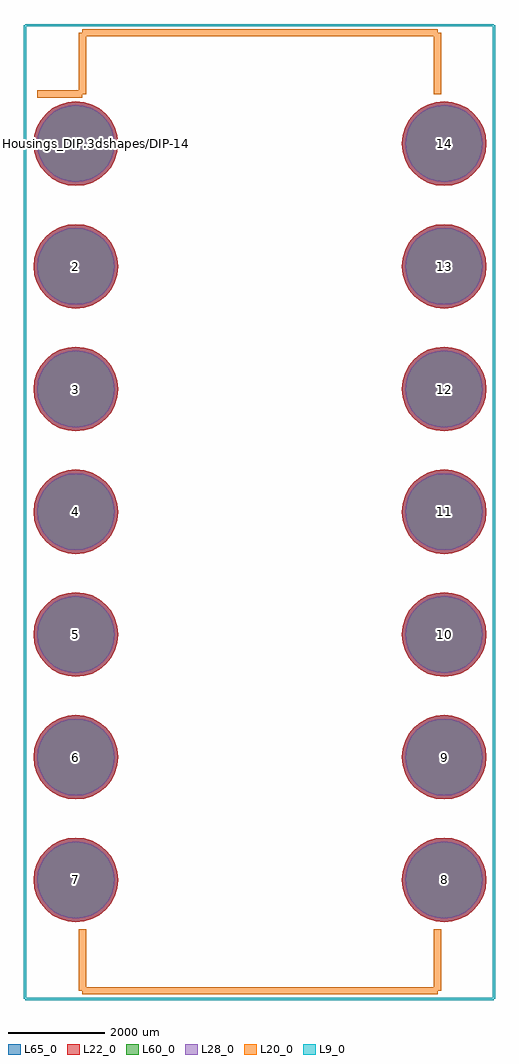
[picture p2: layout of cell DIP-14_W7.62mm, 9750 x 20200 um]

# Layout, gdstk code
import gdstk
lib = gdstk.Library(unit=1e-6, precision=1e-09)
def P(c, l, *ps):  # polygons
    for p in ps: c.add(gdstk.Polygon(p, *l))
L9_0 = (9, 0)
L20_0 = (20, 0)
L22_0 = (22, 0)
L28_0 = (28, 0)
L60_0 = (60, 0)
L65_0 = (65, 0)

dip_14_w7_62mm = lib.new_cell('DIP-14_W7.62mm')
P(dip_14_w7_62mm, L22_0, [(8495,0),(8478.187,170.704),(8428.395,334.848),(8347.536,486.124),(8238.718,618.718),(8106.124,727.536),(7954.848,808.395),(7790.704,858.187),(7620,875),(7449.296,858.187),(7285.152,808.395),(7133.876,727.536),(7001.282,618.718),(6892.464,486.124),(6811.605,334.848),(6761.813,170.704),(6745,0),(6761.813,-170.704),(6811.605,-334.848),(6892.464,-486.124),(7001.282,-618.718),(7133.876,-727.536),(7285.152,-808.395),(7449.296,-858.187),(7620,-875),(7790.704,-858.187),(7954.848,-808.395),(8106.124,-727.536),(8238.718,-618.718),(8347.536,-486.124),(8428.395,-334.848),(8478.187,-170.704)],
  [(8495,-2540),(8478.187,-2369.296),(8428.395,-2205.152),(8347.536,-2053.876),(8238.718,-1921.282),(8106.124,-1812.464),(7954.848,-1731.605),(7790.704,-1681.813),(7620,-1665),(7449.296,-1681.813),(7285.152,-1731.605),(7133.876,-1812.464),(7001.282,-1921.282),(6892.464,-2053.876),(6811.605,-2205.152),(6761.813,-2369.296),(6745,-2540),(6761.813,-2710.704),(6811.605,-2874.848),(6892.464,-3026.124),(7001.282,-3158.718),(7133.876,-3267.536),(7285.152,-3348.395),(7449.296,-3398.187),(7620,-3415),(7790.704,-3398.187),(7954.848,-3348.395),(8106.124,-3267.536),(8238.718,-3158.718),(8347.536,-3026.124),(8428.395,-2874.848),(8478.187,-2710.704)],
  [(8495,-5080),(8478.187,-4909.296),(8428.395,-4745.152),(8347.536,-4593.876),(8238.718,-4461.282),(8106.124,-4352.464),(7954.848,-4271.605),(7790.704,-4221.813),(7620,-4205),(7449.296,-4221.813),(7285.152,-4271.605),(7133.876,-4352.464),(7001.282,-4461.282),(6892.464,-4593.876),(6811.605,-4745.152),(6761.813,-4909.296),(6745,-5080),(6761.813,-5250.704),(6811.605,-5414.848),(6892.464,-5566.124),(7001.282,-5698.718),(7133.876,-5807.536),(7285.152,-5888.395),(7449.296,-5938.187),(7620,-5955),(7790.704,-5938.187),(7954.848,-5888.395),(8106.124,-5807.536),(8238.718,-5698.718),(8347.536,-5566.124),(8428.395,-5414.848),(8478.187,-5250.704)],
  [(8495,-7620),(8478.187,-7449.296),(8428.395,-7285.152),(8347.536,-7133.876),(8238.718,-7001.282),(8106.124,-6892.464),(7954.848,-6811.605),(7790.704,-6761.813),(7620,-6745),(7449.296,-6761.813),(7285.152,-6811.605),(7133.876,-6892.464),(7001.282,-7001.282),(6892.464,-7133.876),(6811.605,-7285.152),(6761.813,-7449.296),(6745,-7620),(6761.813,-7790.704),(6811.605,-7954.848),(6892.464,-8106.124),(7001.282,-8238.718),(7133.876,-8347.536),(7285.152,-8428.395),(7449.296,-8478.187),(7620,-8495),(7790.704,-8478.187),(7954.848,-8428.395),(8106.124,-8347.536),(8238.718,-8238.718),(8347.536,-8106.124),(8428.395,-7954.848),(8478.187,-7790.704)],
  [(8495,-10160),(8478.187,-9989.296),(8428.395,-9825.152),(8347.536,-9673.876),(8238.718,-9541.282),(8106.124,-9432.464),(7954.848,-9351.605),(7790.704,-9301.813),(7620,-9285),(7449.296,-9301.813),(7285.152,-9351.605),(7133.876,-9432.464),(7001.282,-9541.282),(6892.464,-9673.876),(6811.605,-9825.152),(6761.813,-9989.296),(6745,-10160),(6761.813,-10330.704),(6811.605,-10494.848),(6892.464,-10646.124),(7001.282,-10778.718),(7133.876,-10887.536),(7285.152,-10968.395),(7449.296,-11018.187),(7620,-11035),(7790.704,-11018.187),(7954.848,-10968.395),(8106.124,-10887.536),(8238.718,-10778.718),(8347.536,-10646.124),(8428.395,-10494.848),(8478.187,-10330.704)],
  [(8495,-12700),(8478.187,-12529.296),(8428.395,-12365.152),(8347.536,-12213.876),(8238.718,-12081.282),(8106.124,-11972.464),(7954.848,-11891.605),(7790.704,-11841.813),(7620,-11825),(7449.296,-11841.813),(7285.152,-11891.605),(7133.876,-11972.464),(7001.282,-12081.282),(6892.464,-12213.876),(6811.605,-12365.152),(6761.813,-12529.296),(6745,-12700),(6761.813,-12870.704),(6811.605,-13034.848),(6892.464,-13186.124),(7001.282,-13318.718),(7133.876,-13427.536),(7285.152,-13508.395),(7449.296,-13558.187),(7620,-13575),(7790.704,-13558.187),(7954.848,-13508.395),(8106.124,-13427.536),(8238.718,-13318.718),(8347.536,-13186.124),(8428.395,-13034.848),(8478.187,-12870.704)],
  [(8495,-15240),(8478.187,-15069.296),(8428.395,-14905.152),(8347.536,-14753.876),(8238.718,-14621.282),(8106.124,-14512.464),(7954.848,-14431.605),(7790.704,-14381.813),(7620,-14365),(7449.296,-14381.813),(7285.152,-14431.605),(7133.876,-14512.464),(7001.282,-14621.282),(6892.464,-14753.876),(6811.605,-14905.152),(6761.813,-15069.296),(6745,-15240),(6761.813,-15410.704),(6811.605,-15574.848),(6892.464,-15726.124),(7001.282,-15858.718),(7133.876,-15967.536),(7285.152,-16048.395),(7449.296,-16098.187),(7620,-16115),(7790.704,-16098.187),(7954.848,-16048.395),(8106.124,-15967.536),(8238.718,-15858.718),(8347.536,-15726.124),(8428.395,-15574.848),(8478.187,-15410.704)],
  [(875,-15240),(858.187,-15069.296),(808.395,-14905.152),(727.536,-14753.876),(618.718,-14621.282),(486.124,-14512.464),(334.848,-14431.605),(170.704,-14381.813),(0,-14365),(-170.704,-14381.813),(-334.848,-14431.605),(-486.124,-14512.464),(-618.718,-14621.282),(-727.536,-14753.876),(-808.395,-14905.152),(-858.187,-15069.296),(-875,-15240),(-858.187,-15410.704),(-808.395,-15574.848),(-727.536,-15726.124),(-618.718,-15858.718),(-486.124,-15967.536),(-334.848,-16048.395),(-170.704,-16098.187),(0,-16115),(170.704,-16098.187),(334.848,-16048.395),(486.124,-15967.536),(618.718,-15858.718),(727.536,-15726.124),(808.395,-15574.848),(858.187,-15410.704)],
  [(875,-12700),(858.187,-12529.296),(808.395,-12365.152),(727.536,-12213.876),(618.718,-12081.282),(486.124,-11972.464),(334.848,-11891.605),(170.704,-11841.813),(0,-11825),(-170.704,-11841.813),(-334.848,-11891.605),(-486.124,-11972.464),(-618.718,-12081.282),(-727.536,-12213.876),(-808.395,-12365.152),(-858.187,-12529.296),(-875,-12700),(-858.187,-12870.704),(-808.395,-13034.848),(-727.536,-13186.124),(-618.718,-13318.718),(-486.124,-13427.536),(-334.848,-13508.395),(-170.704,-13558.187),(0,-13575),(170.704,-13558.187),(334.848,-13508.395),(486.124,-13427.536),(618.718,-13318.718),(727.536,-13186.124),(808.395,-13034.848),(858.187,-12870.704)],
  [(875,-10160),(858.187,-9989.296),(808.395,-9825.152),(727.536,-9673.876),(618.718,-9541.282),(486.124,-9432.464),(334.848,-9351.605),(170.704,-9301.813),(0,-9285),(-170.704,-9301.813),(-334.848,-9351.605),(-486.124,-9432.464),(-618.718,-9541.282),(-727.536,-9673.876),(-808.395,-9825.152),(-858.187,-9989.296),(-875,-10160),(-858.187,-10330.704),(-808.395,-10494.848),(-727.536,-10646.124),(-618.718,-10778.718),(-486.124,-10887.536),(-334.848,-10968.395),(-170.704,-11018.187),(0,-11035),(170.704,-11018.187),(334.848,-10968.395),(486.124,-10887.536),(618.718,-10778.718),(727.536,-10646.124),(808.395,-10494.848),(858.187,-10330.704)],
  [(875,-7620),(858.187,-7449.296),(808.395,-7285.152),(727.536,-7133.876),(618.718,-7001.282),(486.124,-6892.464),(334.848,-6811.605),(170.704,-6761.813),(0,-6745),(-170.704,-6761.813),(-334.848,-6811.605),(-486.124,-6892.464),(-618.718,-7001.282),(-727.536,-7133.876),(-808.395,-7285.152),(-858.187,-7449.296),(-875,-7620),(-858.187,-7790.704),(-808.395,-7954.848),(-727.536,-8106.124),(-618.718,-8238.718),(-486.124,-8347.536),(-334.848,-8428.395),(-170.704,-8478.187),(0,-8495),(170.704,-8478.187),(334.848,-8428.395),(486.124,-8347.536),(618.718,-8238.718),(727.536,-8106.124),(808.395,-7954.848),(858.187,-7790.704)],
  [(875,-5080),(858.187,-4909.296),(808.395,-4745.152),(727.536,-4593.876),(618.718,-4461.282),(486.124,-4352.464),(334.848,-4271.605),(170.704,-4221.813),(0,-4205),(-170.704,-4221.813),(-334.848,-4271.605),(-486.124,-4352.464),(-618.718,-4461.282),(-727.536,-4593.876),(-808.395,-4745.152),(-858.187,-4909.296),(-875,-5080),(-858.187,-5250.704),(-808.395,-5414.848),(-727.536,-5566.124),(-618.718,-5698.718),(-486.124,-5807.536),(-334.848,-5888.395),(-170.704,-5938.187),(0,-5955),(170.704,-5938.187),(334.848,-5888.395),(486.124,-5807.536),(618.718,-5698.718),(727.536,-5566.124),(808.395,-5414.848),(858.187,-5250.704)],
  [(875,-2540),(858.187,-2369.296),(808.395,-2205.152),(727.536,-2053.876),(618.718,-1921.282),(486.124,-1812.464),(334.848,-1731.605),(170.704,-1681.813),(0,-1665),(-170.704,-1681.813),(-334.848,-1731.605),(-486.124,-1812.464),(-618.718,-1921.282),(-727.536,-2053.876),(-808.395,-2205.152),(-858.187,-2369.296),(-875,-2540),(-858.187,-2710.704),(-808.395,-2874.848),(-727.536,-3026.124),(-618.718,-3158.718),(-486.124,-3267.536),(-334.848,-3348.395),(-170.704,-3398.187),(0,-3415),(170.704,-3398.187),(334.848,-3348.395),(486.124,-3267.536),(618.718,-3158.718),(727.536,-3026.124),(808.395,-2874.848),(858.187,-2710.704)],
  [(875,0),(858.187,170.704),(808.395,334.848),(727.536,486.124),(618.718,618.718),(486.124,727.536),(334.848,808.395),(170.704,858.187),(0,875),(-170.704,858.187),(-334.848,808.395),(-486.124,727.536),(-618.718,618.718),(-727.536,486.124),(-808.395,334.848),(-858.187,170.704),(-875,0),(-858.187,-170.704),(-808.395,-334.848),(-727.536,-486.124),(-618.718,-618.718),(-486.124,-727.536),(-334.848,-808.395),(-170.704,-858.187),(0,-875),(170.704,-858.187),(334.848,-808.395),(486.124,-727.536),(618.718,-618.718),(727.536,-486.124),(808.395,-334.848),(858.187,-170.704)])
P(dip_14_w7_62mm, L28_0, [(8420,0),(8404.628,156.072),(8359.104,306.147),(8285.176,444.456),(8185.685,565.685),(8064.456,665.176),(7926.147,739.104),(7776.072,784.628),(7620,800),(7463.928,784.628),(7313.853,739.104),(7175.544,665.176),(7054.315,565.685),(6954.824,444.456),(6880.896,306.147),(6835.372,156.072),(6820,0),(6835.372,-156.072),(6880.896,-306.147),(6954.824,-444.456),(7054.315,-565.685),(7175.544,-665.176),(7313.853,-739.104),(7463.928,-784.628),(7620,-800),(7776.072,-784.628),(7926.147,-739.104),(8064.456,-665.176),(8185.685,-565.685),(8285.176,-444.456),(8359.104,-306.147),(8404.628,-156.072)],
  [(8420,-2540),(8404.628,-2383.928),(8359.104,-2233.853),(8285.176,-2095.544),(8185.685,-1974.315),(8064.456,-1874.824),(7926.147,-1800.896),(7776.072,-1755.372),(7620,-1740),(7463.928,-1755.372),(7313.853,-1800.896),(7175.544,-1874.824),(7054.315,-1974.315),(6954.824,-2095.544),(6880.896,-2233.853),(6835.372,-2383.928),(6820,-2540),(6835.372,-2696.072),(6880.896,-2846.147),(6954.824,-2984.456),(7054.315,-3105.685),(7175.544,-3205.176),(7313.853,-3279.104),(7463.928,-3324.628),(7620,-3340),(7776.072,-3324.628),(7926.147,-3279.104),(8064.456,-3205.176),(8185.685,-3105.685),(8285.176,-2984.456),(8359.104,-2846.147),(8404.628,-2696.072)],
  [(8420,-5080),(8404.628,-4923.928),(8359.104,-4773.853),(8285.176,-4635.544),(8185.685,-4514.315),(8064.456,-4414.824),(7926.147,-4340.896),(7776.072,-4295.372),(7620,-4280),(7463.928,-4295.372),(7313.853,-4340.896),(7175.544,-4414.824),(7054.315,-4514.315),(6954.824,-4635.544),(6880.896,-4773.853),(6835.372,-4923.928),(6820,-5080),(6835.372,-5236.072),(6880.896,-5386.147),(6954.824,-5524.456),(7054.315,-5645.685),(7175.544,-5745.176),(7313.853,-5819.104),(7463.928,-5864.628),(7620,-5880),(7776.072,-5864.628),(7926.147,-5819.104),(8064.456,-5745.176),(8185.685,-5645.685),(8285.176,-5524.456),(8359.104,-5386.147),(8404.628,-5236.072)],
  [(8420,-7620),(8404.628,-7463.928),(8359.104,-7313.853),(8285.176,-7175.544),(8185.685,-7054.315),(8064.456,-6954.824),(7926.147,-6880.896),(7776.072,-6835.372),(7620,-6820),(7463.928,-6835.372),(7313.853,-6880.896),(7175.544,-6954.824),(7054.315,-7054.315),(6954.824,-7175.544),(6880.896,-7313.853),(6835.372,-7463.928),(6820,-7620),(6835.372,-7776.072),(6880.896,-7926.147),(6954.824,-8064.456),(7054.315,-8185.685),(7175.544,-8285.176),(7313.853,-8359.104),(7463.928,-8404.628),(7620,-8420),(7776.072,-8404.628),(7926.147,-8359.104),(8064.456,-8285.176),(8185.685,-8185.685),(8285.176,-8064.456),(8359.104,-7926.147),(8404.628,-7776.072)],
  [(8420,-10160),(8404.628,-10003.928),(8359.104,-9853.853),(8285.176,-9715.544),(8185.685,-9594.315),(8064.456,-9494.824),(7926.147,-9420.896),(7776.072,-9375.372),(7620,-9360),(7463.928,-9375.372),(7313.853,-9420.896),(7175.544,-9494.824),(7054.315,-9594.315),(6954.824,-9715.544),(6880.896,-9853.853),(6835.372,-10003.928),(6820,-10160),(6835.372,-10316.072),(6880.896,-10466.147),(6954.824,-10604.456),(7054.315,-10725.685),(7175.544,-10825.176),(7313.853,-10899.104),(7463.928,-10944.628),(7620,-10960),(7776.072,-10944.628),(7926.147,-10899.104),(8064.456,-10825.176),(8185.685,-10725.685),(8285.176,-10604.456),(8359.104,-10466.147),(8404.628,-10316.072)],
  [(8420,-12700),(8404.628,-12543.928),(8359.104,-12393.853),(8285.176,-12255.544),(8185.685,-12134.315),(8064.456,-12034.824),(7926.147,-11960.896),(7776.072,-11915.372),(7620,-11900),(7463.928,-11915.372),(7313.853,-11960.896),(7175.544,-12034.824),(7054.315,-12134.315),(6954.824,-12255.544),(6880.896,-12393.853),(6835.372,-12543.928),(6820,-12700),(6835.372,-12856.072),(6880.896,-13006.147),(6954.824,-13144.456),(7054.315,-13265.685),(7175.544,-13365.176),(7313.853,-13439.104),(7463.928,-13484.628),(7620,-13500),(7776.072,-13484.628),(7926.147,-13439.104),(8064.456,-13365.176),(8185.685,-13265.685),(8285.176,-13144.456),(8359.104,-13006.147),(8404.628,-12856.072)],
  [(8420,-15240),(8404.628,-15083.928),(8359.104,-14933.853),(8285.176,-14795.544),(8185.685,-14674.315),(8064.456,-14574.824),(7926.147,-14500.896),(7776.072,-14455.372),(7620,-14440),(7463.928,-14455.372),(7313.853,-14500.896),(7175.544,-14574.824),(7054.315,-14674.315),(6954.824,-14795.544),(6880.896,-14933.853),(6835.372,-15083.928),(6820,-15240),(6835.372,-15396.072),(6880.896,-15546.147),(6954.824,-15684.456),(7054.315,-15805.685),(7175.544,-15905.176),(7313.853,-15979.104),(7463.928,-16024.628),(7620,-16040),(7776.072,-16024.628),(7926.147,-15979.104),(8064.456,-15905.176),(8185.685,-15805.685),(8285.176,-15684.456),(8359.104,-15546.147),(8404.628,-15396.072)],
  [(800,-15240),(784.628,-15083.928),(739.104,-14933.853),(665.176,-14795.544),(565.685,-14674.315),(444.456,-14574.824),(306.147,-14500.896),(156.072,-14455.372),(0,-14440),(-156.072,-14455.372),(-306.147,-14500.896),(-444.456,-14574.824),(-565.685,-14674.315),(-665.176,-14795.544),(-739.104,-14933.853),(-784.628,-15083.928),(-800,-15240),(-784.628,-15396.072),(-739.104,-15546.147),(-665.176,-15684.456),(-565.685,-15805.685),(-444.456,-15905.176),(-306.147,-15979.104),(-156.072,-16024.628),(0,-16040),(156.072,-16024.628),(306.147,-15979.104),(444.456,-15905.176),(565.685,-15805.685),(665.176,-15684.456),(739.104,-15546.147),(784.628,-15396.072)],
  [(800,-12700),(784.628,-12543.928),(739.104,-12393.853),(665.176,-12255.544),(565.685,-12134.315),(444.456,-12034.824),(306.147,-11960.896),(156.072,-11915.372),(0,-11900),(-156.072,-11915.372),(-306.147,-11960.896),(-444.456,-12034.824),(-565.685,-12134.315),(-665.176,-12255.544),(-739.104,-12393.853),(-784.628,-12543.928),(-800,-12700),(-784.628,-12856.072),(-739.104,-13006.147),(-665.176,-13144.456),(-565.685,-13265.685),(-444.456,-13365.176),(-306.147,-13439.104),(-156.072,-13484.628),(0,-13500),(156.072,-13484.628),(306.147,-13439.104),(444.456,-13365.176),(565.685,-13265.685),(665.176,-13144.456),(739.104,-13006.147),(784.628,-12856.072)],
  [(800,-10160),(784.628,-10003.928),(739.104,-9853.853),(665.176,-9715.544),(565.685,-9594.315),(444.456,-9494.824),(306.147,-9420.896),(156.072,-9375.372),(0,-9360),(-156.072,-9375.372),(-306.147,-9420.896),(-444.456,-9494.824),(-565.685,-9594.315),(-665.176,-9715.544),(-739.104,-9853.853),(-784.628,-10003.928),(-800,-10160),(-784.628,-10316.072),(-739.104,-10466.147),(-665.176,-10604.456),(-565.685,-10725.685),(-444.456,-10825.176),(-306.147,-10899.104),(-156.072,-10944.628),(0,-10960),(156.072,-10944.628),(306.147,-10899.104),(444.456,-10825.176),(565.685,-10725.685),(665.176,-10604.456),(739.104,-10466.147),(784.628,-10316.072)],
  [(800,-7620),(784.628,-7463.928),(739.104,-7313.853),(665.176,-7175.544),(565.685,-7054.315),(444.456,-6954.824),(306.147,-6880.896),(156.072,-6835.372),(0,-6820),(-156.072,-6835.372),(-306.147,-6880.896),(-444.456,-6954.824),(-565.685,-7054.315),(-665.176,-7175.544),(-739.104,-7313.853),(-784.628,-7463.928),(-800,-7620),(-784.628,-7776.072),(-739.104,-7926.147),(-665.176,-8064.456),(-565.685,-8185.685),(-444.456,-8285.176),(-306.147,-8359.104),(-156.072,-8404.628),(0,-8420),(156.072,-8404.628),(306.147,-8359.104),(444.456,-8285.176),(565.685,-8185.685),(665.176,-8064.456),(739.104,-7926.147),(784.628,-7776.072)],
  [(800,-5080),(784.628,-4923.928),(739.104,-4773.853),(665.176,-4635.544),(565.685,-4514.315),(444.456,-4414.824),(306.147,-4340.896),(156.072,-4295.372),(0,-4280),(-156.072,-4295.372),(-306.147,-4340.896),(-444.456,-4414.824),(-565.685,-4514.315),(-665.176,-4635.544),(-739.104,-4773.853),(-784.628,-4923.928),(-800,-5080),(-784.628,-5236.072),(-739.104,-5386.147),(-665.176,-5524.456),(-565.685,-5645.685),(-444.456,-5745.176),(-306.147,-5819.104),(-156.072,-5864.628),(0,-5880),(156.072,-5864.628),(306.147,-5819.104),(444.456,-5745.176),(565.685,-5645.685),(665.176,-5524.456),(739.104,-5386.147),(784.628,-5236.072)],
  [(800,-2540),(784.628,-2383.928),(739.104,-2233.853),(665.176,-2095.544),(565.685,-1974.315),(444.456,-1874.824),(306.147,-1800.896),(156.072,-1755.372),(0,-1740),(-156.072,-1755.372),(-306.147,-1800.896),(-444.456,-1874.824),(-565.685,-1974.315),(-665.176,-2095.544),(-739.104,-2233.853),(-784.628,-2383.928),(-800,-2540),(-784.628,-2696.072),(-739.104,-2846.147),(-665.176,-2984.456),(-565.685,-3105.685),(-444.456,-3205.176),(-306.147,-3279.104),(-156.072,-3324.628),(0,-3340),(156.072,-3324.628),(306.147,-3279.104),(444.456,-3205.176),(565.685,-3105.685),(665.176,-2984.456),(739.104,-2846.147),(784.628,-2696.072)],
  [(800,0),(784.628,156.072),(739.104,306.147),(665.176,444.456),(565.685,565.685),(444.456,665.176),(306.147,739.104),(156.072,784.628),(0,800),(-156.072,784.628),(-306.147,739.104),(-444.456,665.176),(-565.685,565.685),(-665.176,444.456),(-739.104,306.147),(-784.628,156.072),(-800,0),(-784.628,-156.072),(-739.104,-306.147),(-665.176,-444.456),(-565.685,-565.685),(-444.456,-665.176),(-306.147,-739.104),(-156.072,-784.628),(0,-800),(156.072,-784.628),(306.147,-739.104),(444.456,-665.176),(565.685,-565.685),(665.176,-444.456),(739.104,-306.147),(784.628,-156.072)])
P(dip_14_w7_62mm, L60_0, [(8420,0),(8404.628,156.072),(8359.104,306.147),(8285.176,444.456),(8185.685,565.685),(8064.456,665.176),(7926.147,739.104),(7776.072,784.628),(7620,800),(7463.928,784.628),(7313.853,739.104),(7175.544,665.176),(7054.315,565.685),(6954.824,444.456),(6880.896,306.147),(6835.372,156.072),(6820,0),(6835.372,-156.072),(6880.896,-306.147),(6954.824,-444.456),(7054.315,-565.685),(7175.544,-665.176),(7313.853,-739.104),(7463.928,-784.628),(7620,-800),(7776.072,-784.628),(7926.147,-739.104),(8064.456,-665.176),(8185.685,-565.685),(8285.176,-444.456),(8359.104,-306.147),(8404.628,-156.072)],
  [(8420,-2540),(8404.628,-2383.928),(8359.104,-2233.853),(8285.176,-2095.544),(8185.685,-1974.315),(8064.456,-1874.824),(7926.147,-1800.896),(7776.072,-1755.372),(7620,-1740),(7463.928,-1755.372),(7313.853,-1800.896),(7175.544,-1874.824),(7054.315,-1974.315),(6954.824,-2095.544),(6880.896,-2233.853),(6835.372,-2383.928),(6820,-2540),(6835.372,-2696.072),(6880.896,-2846.147),(6954.824,-2984.456),(7054.315,-3105.685),(7175.544,-3205.176),(7313.853,-3279.104),(7463.928,-3324.628),(7620,-3340),(7776.072,-3324.628),(7926.147,-3279.104),(8064.456,-3205.176),(8185.685,-3105.685),(8285.176,-2984.456),(8359.104,-2846.147),(8404.628,-2696.072)],
  [(8420,-5080),(8404.628,-4923.928),(8359.104,-4773.853),(8285.176,-4635.544),(8185.685,-4514.315),(8064.456,-4414.824),(7926.147,-4340.896),(7776.072,-4295.372),(7620,-4280),(7463.928,-4295.372),(7313.853,-4340.896),(7175.544,-4414.824),(7054.315,-4514.315),(6954.824,-4635.544),(6880.896,-4773.853),(6835.372,-4923.928),(6820,-5080),(6835.372,-5236.072),(6880.896,-5386.147),(6954.824,-5524.456),(7054.315,-5645.685),(7175.544,-5745.176),(7313.853,-5819.104),(7463.928,-5864.628),(7620,-5880),(7776.072,-5864.628),(7926.147,-5819.104),(8064.456,-5745.176),(8185.685,-5645.685),(8285.176,-5524.456),(8359.104,-5386.147),(8404.628,-5236.072)],
  [(8420,-7620),(8404.628,-7463.928),(8359.104,-7313.853),(8285.176,-7175.544),(8185.685,-7054.315),(8064.456,-6954.824),(7926.147,-6880.896),(7776.072,-6835.372),(7620,-6820),(7463.928,-6835.372),(7313.853,-6880.896),(7175.544,-6954.824),(7054.315,-7054.315),(6954.824,-7175.544),(6880.896,-7313.853),(6835.372,-7463.928),(6820,-7620),(6835.372,-7776.072),(6880.896,-7926.147),(6954.824,-8064.456),(7054.315,-8185.685),(7175.544,-8285.176),(7313.853,-8359.104),(7463.928,-8404.628),(7620,-8420),(7776.072,-8404.628),(7926.147,-8359.104),(8064.456,-8285.176),(8185.685,-8185.685),(8285.176,-8064.456),(8359.104,-7926.147),(8404.628,-7776.072)],
  [(8420,-10160),(8404.628,-10003.928),(8359.104,-9853.853),(8285.176,-9715.544),(8185.685,-9594.315),(8064.456,-9494.824),(7926.147,-9420.896),(7776.072,-9375.372),(7620,-9360),(7463.928,-9375.372),(7313.853,-9420.896),(7175.544,-9494.824),(7054.315,-9594.315),(6954.824,-9715.544),(6880.896,-9853.853),(6835.372,-10003.928),(6820,-10160),(6835.372,-10316.072),(6880.896,-10466.147),(6954.824,-10604.456),(7054.315,-10725.685),(7175.544,-10825.176),(7313.853,-10899.104),(7463.928,-10944.628),(7620,-10960),(7776.072,-10944.628),(7926.147,-10899.104),(8064.456,-10825.176),(8185.685,-10725.685),(8285.176,-10604.456),(8359.104,-10466.147),(8404.628,-10316.072)],
  [(8420,-12700),(8404.628,-12543.928),(8359.104,-12393.853),(8285.176,-12255.544),(8185.685,-12134.315),(8064.456,-12034.824),(7926.147,-11960.896),(7776.072,-11915.372),(7620,-11900),(7463.928,-11915.372),(7313.853,-11960.896),(7175.544,-12034.824),(7054.315,-12134.315),(6954.824,-12255.544),(6880.896,-12393.853),(6835.372,-12543.928),(6820,-12700),(6835.372,-12856.072),(6880.896,-13006.147),(6954.824,-13144.456),(7054.315,-13265.685),(7175.544,-13365.176),(7313.853,-13439.104),(7463.928,-13484.628),(7620,-13500),(7776.072,-13484.628),(7926.147,-13439.104),(8064.456,-13365.176),(8185.685,-13265.685),(8285.176,-13144.456),(8359.104,-13006.147),(8404.628,-12856.072)],
  [(8420,-15240),(8404.628,-15083.928),(8359.104,-14933.853),(8285.176,-14795.544),(8185.685,-14674.315),(8064.456,-14574.824),(7926.147,-14500.896),(7776.072,-14455.372),(7620,-14440),(7463.928,-14455.372),(7313.853,-14500.896),(7175.544,-14574.824),(7054.315,-14674.315),(6954.824,-14795.544),(6880.896,-14933.853),(6835.372,-15083.928),(6820,-15240),(6835.372,-15396.072),(6880.896,-15546.147),(6954.824,-15684.456),(7054.315,-15805.685),(7175.544,-15905.176),(7313.853,-15979.104),(7463.928,-16024.628),(7620,-16040),(7776.072,-16024.628),(7926.147,-15979.104),(8064.456,-15905.176),(8185.685,-15805.685),(8285.176,-15684.456),(8359.104,-15546.147),(8404.628,-15396.072)],
  [(800,-15240),(784.628,-15083.928),(739.104,-14933.853),(665.176,-14795.544),(565.685,-14674.315),(444.456,-14574.824),(306.147,-14500.896),(156.072,-14455.372),(0,-14440),(-156.072,-14455.372),(-306.147,-14500.896),(-444.456,-14574.824),(-565.685,-14674.315),(-665.176,-14795.544),(-739.104,-14933.853),(-784.628,-15083.928),(-800,-15240),(-784.628,-15396.072),(-739.104,-15546.147),(-665.176,-15684.456),(-565.685,-15805.685),(-444.456,-15905.176),(-306.147,-15979.104),(-156.072,-16024.628),(0,-16040),(156.072,-16024.628),(306.147,-15979.104),(444.456,-15905.176),(565.685,-15805.685),(665.176,-15684.456),(739.104,-15546.147),(784.628,-15396.072)],
  [(800,-12700),(784.628,-12543.928),(739.104,-12393.853),(665.176,-12255.544),(565.685,-12134.315),(444.456,-12034.824),(306.147,-11960.896),(156.072,-11915.372),(0,-11900),(-156.072,-11915.372),(-306.147,-11960.896),(-444.456,-12034.824),(-565.685,-12134.315),(-665.176,-12255.544),(-739.104,-12393.853),(-784.628,-12543.928),(-800,-12700),(-784.628,-12856.072),(-739.104,-13006.147),(-665.176,-13144.456),(-565.685,-13265.685),(-444.456,-13365.176),(-306.147,-13439.104),(-156.072,-13484.628),(0,-13500),(156.072,-13484.628),(306.147,-13439.104),(444.456,-13365.176),(565.685,-13265.685),(665.176,-13144.456),(739.104,-13006.147),(784.628,-12856.072)],
  [(800,-10160),(784.628,-10003.928),(739.104,-9853.853),(665.176,-9715.544),(565.685,-9594.315),(444.456,-9494.824),(306.147,-9420.896),(156.072,-9375.372),(0,-9360),(-156.072,-9375.372),(-306.147,-9420.896),(-444.456,-9494.824),(-565.685,-9594.315),(-665.176,-9715.544),(-739.104,-9853.853),(-784.628,-10003.928),(-800,-10160),(-784.628,-10316.072),(-739.104,-10466.147),(-665.176,-10604.456),(-565.685,-10725.685),(-444.456,-10825.176),(-306.147,-10899.104),(-156.072,-10944.628),(0,-10960),(156.072,-10944.628),(306.147,-10899.104),(444.456,-10825.176),(565.685,-10725.685),(665.176,-10604.456),(739.104,-10466.147),(784.628,-10316.072)],
  [(800,-7620),(784.628,-7463.928),(739.104,-7313.853),(665.176,-7175.544),(565.685,-7054.315),(444.456,-6954.824),(306.147,-6880.896),(156.072,-6835.372),(0,-6820),(-156.072,-6835.372),(-306.147,-6880.896),(-444.456,-6954.824),(-565.685,-7054.315),(-665.176,-7175.544),(-739.104,-7313.853),(-784.628,-7463.928),(-800,-7620),(-784.628,-7776.072),(-739.104,-7926.147),(-665.176,-8064.456),(-565.685,-8185.685),(-444.456,-8285.176),(-306.147,-8359.104),(-156.072,-8404.628),(0,-8420),(156.072,-8404.628),(306.147,-8359.104),(444.456,-8285.176),(565.685,-8185.685),(665.176,-8064.456),(739.104,-7926.147),(784.628,-7776.072)],
  [(800,-5080),(784.628,-4923.928),(739.104,-4773.853),(665.176,-4635.544),(565.685,-4514.315),(444.456,-4414.824),(306.147,-4340.896),(156.072,-4295.372),(0,-4280),(-156.072,-4295.372),(-306.147,-4340.896),(-444.456,-4414.824),(-565.685,-4514.315),(-665.176,-4635.544),(-739.104,-4773.853),(-784.628,-4923.928),(-800,-5080),(-784.628,-5236.072),(-739.104,-5386.147),(-665.176,-5524.456),(-565.685,-5645.685),(-444.456,-5745.176),(-306.147,-5819.104),(-156.072,-5864.628),(0,-5880),(156.072,-5864.628),(306.147,-5819.104),(444.456,-5745.176),(565.685,-5645.685),(665.176,-5524.456),(739.104,-5386.147),(784.628,-5236.072)],
  [(800,-2540),(784.628,-2383.928),(739.104,-2233.853),(665.176,-2095.544),(565.685,-1974.315),(444.456,-1874.824),(306.147,-1800.896),(156.072,-1755.372),(0,-1740),(-156.072,-1755.372),(-306.147,-1800.896),(-444.456,-1874.824),(-565.685,-1974.315),(-665.176,-2095.544),(-739.104,-2233.853),(-784.628,-2383.928),(-800,-2540),(-784.628,-2696.072),(-739.104,-2846.147),(-665.176,-2984.456),(-565.685,-3105.685),(-444.456,-3205.176),(-306.147,-3279.104),(-156.072,-3324.628),(0,-3340),(156.072,-3324.628),(306.147,-3279.104),(444.456,-3205.176),(565.685,-3105.685),(665.176,-2984.456),(739.104,-2846.147),(784.628,-2696.072)],
  [(800,0),(784.628,156.072),(739.104,306.147),(665.176,444.456),(565.685,565.685),(444.456,665.176),(306.147,739.104),(156.072,784.628),(0,800),(-156.072,784.628),(-306.147,739.104),(-444.456,665.176),(-565.685,565.685),(-665.176,444.456),(-739.104,306.147),(-784.628,156.072),(-800,0),(-784.628,-156.072),(-739.104,-306.147),(-665.176,-444.456),(-565.685,-565.685),(-444.456,-665.176),(-306.147,-739.104),(-156.072,-784.628),(0,-800),(156.072,-784.628),(306.147,-739.104),(444.456,-665.176),(565.685,-565.685),(665.176,-444.456),(739.104,-306.147),(784.628,-156.072)])
P(dip_14_w7_62mm, L65_0, [(8495,0),(8478.187,170.704),(8428.395,334.848),(8347.536,486.124),(8238.718,618.718),(8106.124,727.536),(7954.848,808.395),(7790.704,858.187),(7620,875),(7449.296,858.187),(7285.152,808.395),(7133.876,727.536),(7001.282,618.718),(6892.464,486.124),(6811.605,334.848),(6761.813,170.704),(6745,0),(6761.813,-170.704),(6811.605,-334.848),(6892.464,-486.124),(7001.282,-618.718),(7133.876,-727.536),(7285.152,-808.395),(7449.296,-858.187),(7620,-875),(7790.704,-858.187),(7954.848,-808.395),(8106.124,-727.536),(8238.718,-618.718),(8347.536,-486.124),(8428.395,-334.848),(8478.187,-170.704)],
  [(8495,-2540),(8478.187,-2369.296),(8428.395,-2205.152),(8347.536,-2053.876),(8238.718,-1921.282),(8106.124,-1812.464),(7954.848,-1731.605),(7790.704,-1681.813),(7620,-1665),(7449.296,-1681.813),(7285.152,-1731.605),(7133.876,-1812.464),(7001.282,-1921.282),(6892.464,-2053.876),(6811.605,-2205.152),(6761.813,-2369.296),(6745,-2540),(6761.813,-2710.704),(6811.605,-2874.848),(6892.464,-3026.124),(7001.282,-3158.718),(7133.876,-3267.536),(7285.152,-3348.395),(7449.296,-3398.187),(7620,-3415),(7790.704,-3398.187),(7954.848,-3348.395),(8106.124,-3267.536),(8238.718,-3158.718),(8347.536,-3026.124),(8428.395,-2874.848),(8478.187,-2710.704)],
  [(8495,-5080),(8478.187,-4909.296),(8428.395,-4745.152),(8347.536,-4593.876),(8238.718,-4461.282),(8106.124,-4352.464),(7954.848,-4271.605),(7790.704,-4221.813),(7620,-4205),(7449.296,-4221.813),(7285.152,-4271.605),(7133.876,-4352.464),(7001.282,-4461.282),(6892.464,-4593.876),(6811.605,-4745.152),(6761.813,-4909.296),(6745,-5080),(6761.813,-5250.704),(6811.605,-5414.848),(6892.464,-5566.124),(7001.282,-5698.718),(7133.876,-5807.536),(7285.152,-5888.395),(7449.296,-5938.187),(7620,-5955),(7790.704,-5938.187),(7954.848,-5888.395),(8106.124,-5807.536),(8238.718,-5698.718),(8347.536,-5566.124),(8428.395,-5414.848),(8478.187,-5250.704)],
  [(8495,-7620),(8478.187,-7449.296),(8428.395,-7285.152),(8347.536,-7133.876),(8238.718,-7001.282),(8106.124,-6892.464),(7954.848,-6811.605),(7790.704,-6761.813),(7620,-6745),(7449.296,-6761.813),(7285.152,-6811.605),(7133.876,-6892.464),(7001.282,-7001.282),(6892.464,-7133.876),(6811.605,-7285.152),(6761.813,-7449.296),(6745,-7620),(6761.813,-7790.704),(6811.605,-7954.848),(6892.464,-8106.124),(7001.282,-8238.718),(7133.876,-8347.536),(7285.152,-8428.395),(7449.296,-8478.187),(7620,-8495),(7790.704,-8478.187),(7954.848,-8428.395),(8106.124,-8347.536),(8238.718,-8238.718),(8347.536,-8106.124),(8428.395,-7954.848),(8478.187,-7790.704)],
  [(8495,-10160),(8478.187,-9989.296),(8428.395,-9825.152),(8347.536,-9673.876),(8238.718,-9541.282),(8106.124,-9432.464),(7954.848,-9351.605),(7790.704,-9301.813),(7620,-9285),(7449.296,-9301.813),(7285.152,-9351.605),(7133.876,-9432.464),(7001.282,-9541.282),(6892.464,-9673.876),(6811.605,-9825.152),(6761.813,-9989.296),(6745,-10160),(6761.813,-10330.704),(6811.605,-10494.848),(6892.464,-10646.124),(7001.282,-10778.718),(7133.876,-10887.536),(7285.152,-10968.395),(7449.296,-11018.187),(7620,-11035),(7790.704,-11018.187),(7954.848,-10968.395),(8106.124,-10887.536),(8238.718,-10778.718),(8347.536,-10646.124),(8428.395,-10494.848),(8478.187,-10330.704)],
  [(8495,-12700),(8478.187,-12529.296),(8428.395,-12365.152),(8347.536,-12213.876),(8238.718,-12081.282),(8106.124,-11972.464),(7954.848,-11891.605),(7790.704,-11841.813),(7620,-11825),(7449.296,-11841.813),(7285.152,-11891.605),(7133.876,-11972.464),(7001.282,-12081.282),(6892.464,-12213.876),(6811.605,-12365.152),(6761.813,-12529.296),(6745,-12700),(6761.813,-12870.704),(6811.605,-13034.848),(6892.464,-13186.124),(7001.282,-13318.718),(7133.876,-13427.536),(7285.152,-13508.395),(7449.296,-13558.187),(7620,-13575),(7790.704,-13558.187),(7954.848,-13508.395),(8106.124,-13427.536),(8238.718,-13318.718),(8347.536,-13186.124),(8428.395,-13034.848),(8478.187,-12870.704)],
  [(8495,-15240),(8478.187,-15069.296),(8428.395,-14905.152),(8347.536,-14753.876),(8238.718,-14621.282),(8106.124,-14512.464),(7954.848,-14431.605),(7790.704,-14381.813),(7620,-14365),(7449.296,-14381.813),(7285.152,-14431.605),(7133.876,-14512.464),(7001.282,-14621.282),(6892.464,-14753.876),(6811.605,-14905.152),(6761.813,-15069.296),(6745,-15240),(6761.813,-15410.704),(6811.605,-15574.848),(6892.464,-15726.124),(7001.282,-15858.718),(7133.876,-15967.536),(7285.152,-16048.395),(7449.296,-16098.187),(7620,-16115),(7790.704,-16098.187),(7954.848,-16048.395),(8106.124,-15967.536),(8238.718,-15858.718),(8347.536,-15726.124),(8428.395,-15574.848),(8478.187,-15410.704)],
  [(875,-15240),(858.187,-15069.296),(808.395,-14905.152),(727.536,-14753.876),(618.718,-14621.282),(486.124,-14512.464),(334.848,-14431.605),(170.704,-14381.813),(0,-14365),(-170.704,-14381.813),(-334.848,-14431.605),(-486.124,-14512.464),(-618.718,-14621.282),(-727.536,-14753.876),(-808.395,-14905.152),(-858.187,-15069.296),(-875,-15240),(-858.187,-15410.704),(-808.395,-15574.848),(-727.536,-15726.124),(-618.718,-15858.718),(-486.124,-15967.536),(-334.848,-16048.395),(-170.704,-16098.187),(0,-16115),(170.704,-16098.187),(334.848,-16048.395),(486.124,-15967.536),(618.718,-15858.718),(727.536,-15726.124),(808.395,-15574.848),(858.187,-15410.704)],
  [(875,-12700),(858.187,-12529.296),(808.395,-12365.152),(727.536,-12213.876),(618.718,-12081.282),(486.124,-11972.464),(334.848,-11891.605),(170.704,-11841.813),(0,-11825),(-170.704,-11841.813),(-334.848,-11891.605),(-486.124,-11972.464),(-618.718,-12081.282),(-727.536,-12213.876),(-808.395,-12365.152),(-858.187,-12529.296),(-875,-12700),(-858.187,-12870.704),(-808.395,-13034.848),(-727.536,-13186.124),(-618.718,-13318.718),(-486.124,-13427.536),(-334.848,-13508.395),(-170.704,-13558.187),(0,-13575),(170.704,-13558.187),(334.848,-13508.395),(486.124,-13427.536),(618.718,-13318.718),(727.536,-13186.124),(808.395,-13034.848),(858.187,-12870.704)],
  [(875,-10160),(858.187,-9989.296),(808.395,-9825.152),(727.536,-9673.876),(618.718,-9541.282),(486.124,-9432.464),(334.848,-9351.605),(170.704,-9301.813),(0,-9285),(-170.704,-9301.813),(-334.848,-9351.605),(-486.124,-9432.464),(-618.718,-9541.282),(-727.536,-9673.876),(-808.395,-9825.152),(-858.187,-9989.296),(-875,-10160),(-858.187,-10330.704),(-808.395,-10494.848),(-727.536,-10646.124),(-618.718,-10778.718),(-486.124,-10887.536),(-334.848,-10968.395),(-170.704,-11018.187),(0,-11035),(170.704,-11018.187),(334.848,-10968.395),(486.124,-10887.536),(618.718,-10778.718),(727.536,-10646.124),(808.395,-10494.848),(858.187,-10330.704)],
  [(875,-7620),(858.187,-7449.296),(808.395,-7285.152),(727.536,-7133.876),(618.718,-7001.282),(486.124,-6892.464),(334.848,-6811.605),(170.704,-6761.813),(0,-6745),(-170.704,-6761.813),(-334.848,-6811.605),(-486.124,-6892.464),(-618.718,-7001.282),(-727.536,-7133.876),(-808.395,-7285.152),(-858.187,-7449.296),(-875,-7620),(-858.187,-7790.704),(-808.395,-7954.848),(-727.536,-8106.124),(-618.718,-8238.718),(-486.124,-8347.536),(-334.848,-8428.395),(-170.704,-8478.187),(0,-8495),(170.704,-8478.187),(334.848,-8428.395),(486.124,-8347.536),(618.718,-8238.718),(727.536,-8106.124),(808.395,-7954.848),(858.187,-7790.704)],
  [(875,-5080),(858.187,-4909.296),(808.395,-4745.152),(727.536,-4593.876),(618.718,-4461.282),(486.124,-4352.464),(334.848,-4271.605),(170.704,-4221.813),(0,-4205),(-170.704,-4221.813),(-334.848,-4271.605),(-486.124,-4352.464),(-618.718,-4461.282),(-727.536,-4593.876),(-808.395,-4745.152),(-858.187,-4909.296),(-875,-5080),(-858.187,-5250.704),(-808.395,-5414.848),(-727.536,-5566.124),(-618.718,-5698.718),(-486.124,-5807.536),(-334.848,-5888.395),(-170.704,-5938.187),(0,-5955),(170.704,-5938.187),(334.848,-5888.395),(486.124,-5807.536),(618.718,-5698.718),(727.536,-5566.124),(808.395,-5414.848),(858.187,-5250.704)],
  [(875,-2540),(858.187,-2369.296),(808.395,-2205.152),(727.536,-2053.876),(618.718,-1921.282),(486.124,-1812.464),(334.848,-1731.605),(170.704,-1681.813),(0,-1665),(-170.704,-1681.813),(-334.848,-1731.605),(-486.124,-1812.464),(-618.718,-1921.282),(-727.536,-2053.876),(-808.395,-2205.152),(-858.187,-2369.296),(-875,-2540),(-858.187,-2710.704),(-808.395,-2874.848),(-727.536,-3026.124),(-618.718,-3158.718),(-486.124,-3267.536),(-334.848,-3348.395),(-170.704,-3398.187),(0,-3415),(170.704,-3398.187),(334.848,-3348.395),(486.124,-3267.536),(618.718,-3158.718),(727.536,-3026.124),(808.395,-2874.848),(858.187,-2710.704)],
  [(875,0),(858.187,170.704),(808.395,334.848),(727.536,486.124),(618.718,618.718),(486.124,727.536),(334.848,808.395),(170.704,858.187),(0,875),(-170.704,858.187),(-334.848,808.395),(-486.124,727.536),(-618.718,618.718),(-727.536,486.124),(-808.395,334.848),(-858.187,170.704),(-875,0),(-858.187,-170.704),(-808.395,-334.848),(-727.536,-486.124),(-618.718,-618.718),(-486.124,-727.536),(-334.848,-808.395),(-170.704,-858.187),(0,-875),(170.704,-858.187),(334.848,-808.395),(486.124,-727.536),(618.718,-618.718),(727.536,-486.124),(808.395,-334.848),(858.187,-170.704)])
dip_14_w7_62mm.add(gdstk.FlexPath([(135,1025),(-800,1025)], 149.998, ends="flush", simple_path=True, layer=20, datatype=0))  # L20_0
dip_14_w7_62mm.add(gdstk.FlexPath([(135,-17535),(7485,-17535)], 149.998, ends="flush", simple_path=True, layer=20, datatype=0))  # L20_0
dip_14_w7_62mm.add(gdstk.FlexPath([(135,2295),(7485,2295)], 149.998, ends="flush", simple_path=True, layer=20, datatype=0))  # L20_0
dip_14_w7_62mm.add(gdstk.FlexPath([(135,-17535),(135,-16265)], 149.998, ends="flush", simple_path=True, layer=20, datatype=0))  # L20_0
dip_14_w7_62mm.add(gdstk.FlexPath([(7485,-17535),(7485,-16265)], 149.998, ends="flush", simple_path=True, layer=20, datatype=0))  # L20_0
dip_14_w7_62mm.add(gdstk.FlexPath([(7485,2295),(7485,1025)], 149.998, ends="flush", simple_path=True, layer=20, datatype=0))  # L20_0
dip_14_w7_62mm.add(gdstk.FlexPath([(135,2295),(135,1025)], 149.998, ends="flush", simple_path=True, layer=20, datatype=0))  # L20_0
dip_14_w7_62mm.add(gdstk.FlexPath([(-1050,-17700),(8650,-17700)], 50, ends="flush", simple_path=True, layer=9, datatype=0))  # L9_0
dip_14_w7_62mm.add(gdstk.FlexPath([(-1050,2450),(8650,2450)], 50, ends="flush", simple_path=True, layer=9, datatype=0))  # L9_0
dip_14_w7_62mm.add(gdstk.FlexPath([(8650,2450),(8650,-17700)], 50, ends="flush", simple_path=True, layer=9, datatype=0))  # L9_0
dip_14_w7_62mm.add(gdstk.FlexPath([(-1050,2450),(-1050,-17700)], 50, ends="flush", simple_path=True, layer=9, datatype=0))  # L9_0
dip_14_w7_62mm.add(gdstk.Label('Housings_DIP.3dshapes/DIP-14_W7.62mm.wrl', (0,0), layer=12, texttype=0))
dip_14_w7_62mm.add(gdstk.Label('14', (7620,0), layer=28, texttype=0))
dip_14_w7_62mm.add(gdstk.Label('13', (7620,-2540), layer=28, texttype=0))
dip_14_w7_62mm.add(gdstk.Label('12', (7620,-5080), layer=28, texttype=0))
dip_14_w7_62mm.add(gdstk.Label('11', (7620,-7620), layer=28, texttype=0))
dip_14_w7_62mm.add(gdstk.Label('10', (7620,-10160), layer=28, texttype=0))
dip_14_w7_62mm.add(gdstk.Label('9', (7620,-12700), layer=28, texttype=0))
dip_14_w7_62mm.add(gdstk.Label('8', (7620,-15240), layer=28, texttype=0))
dip_14_w7_62mm.add(gdstk.Label('7', (0,-15240), layer=28, texttype=0))
dip_14_w7_62mm.add(gdstk.Label('6', (0,-12700), layer=28, texttype=0))
dip_14_w7_62mm.add(gdstk.Label('5', (0,-10160), layer=28, texttype=0))
dip_14_w7_62mm.add(gdstk.Label('4', (0,-7620), layer=28, texttype=0))
dip_14_w7_62mm.add(gdstk.Label('3', (0,-5080), layer=28, texttype=0))
dip_14_w7_62mm.add(gdstk.Label('2', (0,-2540), layer=28, texttype=0))
dip_14_w7_62mm.add(gdstk.Label('1', (0,0), layer=28, texttype=0))
dip_14_w7_62mm.add(gdstk.Label('type', (0,3720), layer=9, texttype=0))
dip_14_w7_62mm.add(gdstk.Label('devicename', (0,5220), layer=9, texttype=0))

lib.write_gds('DIP-14_W7.62mm.gds')
